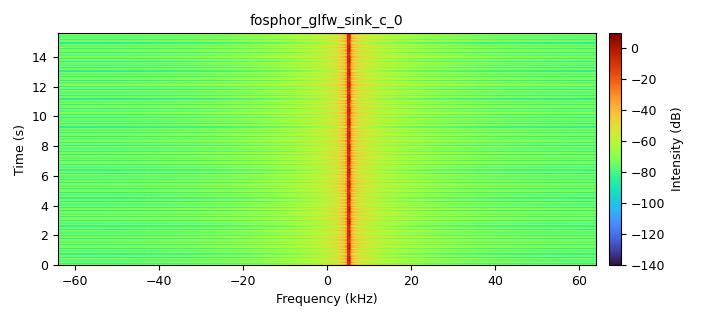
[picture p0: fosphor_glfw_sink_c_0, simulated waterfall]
options:
  parameters:
    author: Naoki Pross
    generate_options: qt_gui
    id: Simluation
    output_language: python
    realtime_scheduling: '1'
    title: Simulation of a fading channel
  states: {}

blocks:
- name: carrier_freq
  id: variable
  parameters:
    value: 5e3
  states: {}
- name: modulation_factor
  id: variable
  parameters:
    value: '.7'
  states: {}
- name: samp_rate
  id: variable
  parameters:
    value: 128e3
  states: {}
- name: analog_am_demod_cf_0
  id: analog_am_demod_cf
  parameters:
    audio_decim: '1'
    audio_pass: '5000'
    audio_stop: '5500'
    chan_rate: samp_rate
  states: {}
- name: analog_const_source_x_0
  id: analog_const_source_x
  parameters:
    const: '1'
    type: complex
  states: {}
- name: analog_const_source_x_1
  id: analog_const_source_x
  parameters:
    const: modulation_factor
    type: complex
  states: {}
- name: analog_sig_source_x_0
  id: analog_sig_source_x
  parameters:
    amp: '1'
    freq: carrier_freq
    offset: '0'
    phase: '0'
    samp_rate: samp_rate
    type: complex
    waveform: analog.GR_COS_WAVE
  states: {}
- name: analog_sig_source_x_1
  id: analog_sig_source_x
  parameters:
    amp: '1'
    freq: '50'
    offset: '0'
    phase: '0'
    samp_rate: samp_rate
    type: complex
    waveform: analog.GR_SQR_WAVE
  states: {}
- name: blocks_add_xx_0
  id: blocks_add_xx
  parameters:
    type: complex
  states: {}
- name: blocks_complex_to_real_0
  id: blocks_complex_to_real
  parameters: {}
  states: {}
- name: blocks_multiply_xx_0
  id: blocks_multiply_xx
  parameters:
    type: complex
  states: {}
- name: blocks_multiply_xx_1
  id: blocks_multiply_xx
  parameters:
    type: complex
  states: {}
- name: blocks_throttle_0
  id: blocks_throttle
  parameters:
    samples_per_second: samp_rate * 2
    type: complex
  states: {}
- name: fosphor_glfw_sink_c_0
  id: fosphor_glfw_sink_c
  parameters:
    freq_center: '0'
    freq_span: samp_rate
    wintype: firdes.WIN_BLACKMAN_hARRIS
  states: {}
- name: note_0
  id: note
  parameters:
    note: AM modulator parameters
  states: {}
- name: qtgui_time_sink_x_0
  id: qtgui_time_sink_x
  parameters:
    autoscale: 'True'
    grid: 'True'
    label1: Original
    label2: Demodulated
    name: '"Demodulated AM signal"'
    nconnections: '2'
    size: '1024'
    srate: samp_rate
    tr_delay: '1e-3'
    tr_mode: qtgui.TRIG_MODE_NORM
    type: float
    update_time: '1e-1'
  states: {}

connections:
- [analog_am_demod_cf_0, '0', qtgui_time_sink_x_0, '1']
- [analog_const_source_x_0, '0', blocks_add_xx_0, '1']
- [analog_const_source_x_1, '0', blocks_multiply_xx_1, '0']
- [analog_sig_source_x_0, '0', blocks_multiply_xx_0, '1']
- [analog_sig_source_x_1, '0', blocks_multiply_xx_1, '1']
- [blocks_add_xx_0, '0', blocks_complex_to_real_0, '0']
- [blocks_add_xx_0, '0', blocks_multiply_xx_0, '0']
- [blocks_complex_to_real_0, '0', qtgui_time_sink_x_0, '0']
- [blocks_multiply_xx_0, '0', blocks_throttle_0, '0']
- [blocks_multiply_xx_1, '0', blocks_add_xx_0, '0']
- [blocks_throttle_0, '0', analog_am_demod_cf_0, '0']
- [blocks_throttle_0, '0', fosphor_glfw_sink_c_0, '0']

metadata:
  file_format: 1
